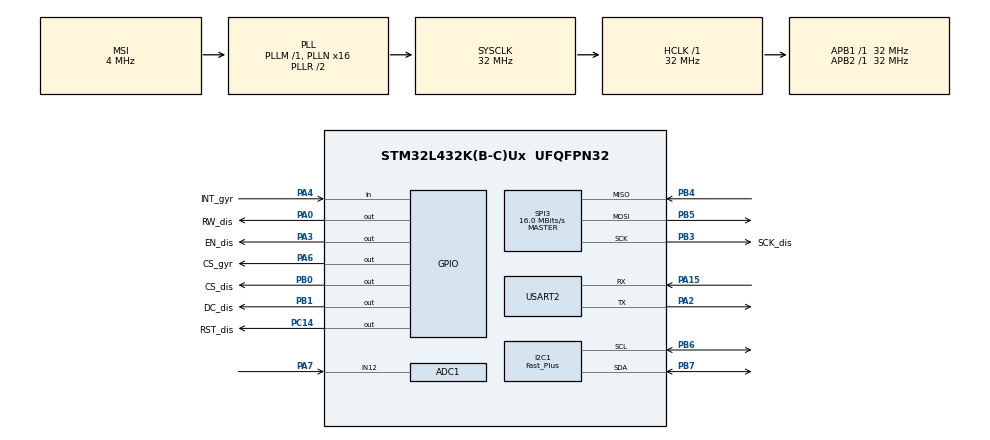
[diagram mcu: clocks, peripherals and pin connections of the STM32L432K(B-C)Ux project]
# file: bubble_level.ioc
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ADC1.Channel-0\#ChannelRegularConversion=ADC_CHANNEL_12
ADC1.NbrOfConversionFlag=1
ADC1.OffsetNumber-0\#ChannelRegularConversion=ADC_OFFSET_NONE
ADC1.Rank-0\#ChannelRegularConversion=1
ADC1.Resolution=ADC_RESOLUTION_8B
ADC1.SamplingTime-0\#ChannelRegularConversion=ADC_SAMPLETIME_2CYCLES_5
ADC1.master=1
Dma.I2C1_RX.1.Direction=DMA_PERIPH_TO_MEMORY
Dma.I2C1_RX.1.Instance=DMA1_Channel7
Dma.I2C1_RX.1.MemDataAlignment=DMA_MDATAALIGN_BYTE
Dma.I2C1_RX.1.MemInc=DMA_MINC_ENABLE
Dma.I2C1_RX.1.Mode=DMA_NORMAL
Dma.I2C1_RX.1.PeriphDataAlignment=DMA_PDATAALIGN_BYTE
Dma.I2C1_RX.1.PeriphInc=DMA_PINC_DISABLE
Dma.I2C1_RX.1.Priority=DMA_PRIORITY_LOW
Dma.I2C1_TX.0.Direction=DMA_MEMORY_TO_PERIPH
Dma.I2C1_TX.0.Instance=DMA1_Channel6
Dma.I2C1_TX.0.MemDataAlignment=DMA_MDATAALIGN_BYTE
Dma.I2C1_TX.0.MemInc=DMA_MINC_ENABLE
Dma.I2C1_TX.0.Mode=DMA_NORMAL
Dma.I2C1_TX.0.PeriphDataAlignment=DMA_PDATAALIGN_BYTE
Dma.I2C1_TX.0.PeriphInc=DMA_PINC_DISABLE
Dma.I2C1_TX.0.Priority=DMA_PRIORITY_LOW
Dma.Request0=I2C1_TX
Dma.Request1=I2C1_RX
FREERTOS.BinarySemaphores01=fuseddataavailable,Dynamic,NULL,Depleted;cooavailable,Dynamic,NULL,Depleted;rawdataavailable,Dynamic,NULL,Depleted;monitorcalcavailable,Dynamic,NULL,Depleted
FREERTOS.Queues01=calcdatatomonitor,2,CALCDATA,0,Static,monitordataBuffer,monitordataControlBlock;gyraccdata,2,REALACCGYR,0,Static,gyraccdataBuffer,gyraccdataControlBlock;fuseddata,2,ANGLES,0,Static,fuseddataBuffer,fuseddataControlBlock;coodata,1,COORDINATES,0,Static,coodataBuffer,coodataControlBlock;pixeldatatomonitor,1,COODELTA,0,Static,pixeldatatomonitorBuffer,pixeldatatomonitorControlBlock
FREERTOS.Tasks01=uarttask,32,256,startuarttask,Default,NULL,Static,uarttaskBuffer,uarttaskControlBlock;spitask,32,256,startspitask,Default,&griddata.angleradius,Static,spitaskBuffer,spitaskControlBlock;i2ctask,32,256,starti2ctask,Default,&cal,Static,i2ctaskBuffer,i2ctaskControlBlock;fusiontask,32,256,startfusiontask,Default,&filterdata,Static,fusiontaskBuffer,fusiontaskControlBlock;converttopixelt,32,256,startconverttopixeltask,Default,griddata.scalefunc,Static,converttopixelBuffer,converttopixelControlBlock
FREERTOS.configENABLE_FPU=1
FREERTOS.configTOTAL_HEAP_SIZE=6000
FREERTOS.configUSE_NEWLIB_REENTRANT=1
I2C1.Analog_Filter=I2C_ANALOGFILTER_ENABLE
I2C1.CustomTiming=Disabled
I2C1.I2C_Fall_Time=120
I2C1.I2C_Rise_Time=120
I2C1.I2C_Speed_Mode=I2C_Fast_Plus
I2C1.Speed=1000
I2C1.Timing=0x0050040C
Mcu.Family=STM32L4
Mcu.Name=STM32L432K(B-C)Ux
Mcu.Package=UFQFPN32
NVIC.DMA1_Channel6_IRQn=true\:5\:0\:false\:false\:true\:true\:false\:true\:true
NVIC.DMA1_Channel7_IRQn=true\:5\:0\:false\:false\:true\:true\:false\:true\:true
NVIC.PriorityGroup=NVIC_PRIORITYGROUP_4
NVIC.TIM6_DAC_IRQn=true\:15\:0\:false\:false\:true\:false\:false\:true\:true
NVIC.TimeBase=TIM6_DAC_IRQn
NVIC.TimeBaseIP=TIM6
NVIC.USART2_IRQn=true\:5\:0\:true\:false\:true\:true\:true\:true\:true
PA0.GPIO_Label=RW_dis
PA0.Signal=GPIO_Output
PA13\ (JTMS-SWDIO).Mode=Serial_Wire
PA13\ (JTMS-SWDIO).Signal=SYS_JTMS-SWDIO
PA14\ (JTCK-SWCLK).Mode=Serial_Wire
PA14\ (JTCK-SWCLK).Signal=SYS_JTCK-SWCLK
PA15\ (JTDI).Mode=Asynchronous
PA15\ (JTDI).Signal=USART2_RX
PA2.Mode=Asynchronous
PA2.Signal=USART2_TX
PA3.GPIO_Label=EN_dis
PA3.Signal=GPIO_Output
PA4.GPIO_Label=INT_gyr
PA4.Signal=GPIO_Input
PA6.GPIO_Label=CS_gyr
PA6.GPIO_ModeDefaultOutputPP=GPIO_MODE_OUTPUT_OD
PA6.GPIO_PuPd=GPIO_PULLUP
PA6.PinState=GPIO_PIN_SET
PA6.Signal=GPIO_Output
PA7.Signal=ADCx_IN12
PB0.GPIO_Label=CS_dis
PB0.PinState=GPIO_PIN_SET
PB0.Signal=GPIO_Output
PB1.GPIO_Label=DC_dis
PB1.PinState=GPIO_PIN_RESET
PB1.Signal=GPIO_Output
PB3\ (JTDO-TRACESWO).GPIO_Label=SCK_dis
PB3\ (JTDO-TRACESWO).Mode=Full_Duplex_Master
PB3\ (JTDO-TRACESWO).Signal=SPI3_SCK
PB4\ (NJTRST).Mode=Full_Duplex_Master
PB4\ (NJTRST).Signal=SPI3_MISO
PB5.Mode=Full_Duplex_Master
PB5.Signal=SPI3_MOSI
PB6.Mode=I2C
PB6.Signal=I2C1_SCL
PB7.Mode=I2C
PB7.Signal=I2C1_SDA
PC14-OSC32_IN\ (PC14).GPIO_Label=RST_dis
PC14-OSC32_IN\ (PC14).GPIO_ModeDefaultOutputPP=GPIO_MODE_OUTPUT_PP
PC14-OSC32_IN\ (PC14).GPIO_PuPd=GPIO_PULLDOWN
PC14-OSC32_IN\ (PC14).Signal=GPIO_Output
ProjectManager.HeapSize=0x200
ProjectManager.StackSize=0x400
ProjectManager.TargetToolchain=STM32CubeIDE
RCC.ADCFreq_Value=32000000
RCC.AHBFreq_Value=32000000
RCC.APB1Freq_Value=32000000
RCC.APB1TimFreq_Value=32000000
RCC.APB2Freq_Value=32000000
RCC.APB2TimFreq_Value=32000000
RCC.CortexFreq_Value=32000000
RCC.HCLKFreq_Value=32000000
RCC.HSE_VALUE=8000000
RCC.HSI48_VALUE=48000000
RCC.HSI_VALUE=16000000
RCC.LSE_VALUE=32768
RCC.MSI_VALUE=4000000
RCC.PLLN=16
RCC.PLLSAI1N=16
RCC.SYSCLKFreq_VALUE=32000000
RCC.SYSCLKSource=RCC_SYSCLKSOURCE_PLLCLK
RCC.USBFreq_Value=32000000
RCC.VCOOutputFreq_Value=64000000
SH.ADCx_IN12.0=ADC1_IN12,IN12-Single-Ended
SPI3.BaudRatePrescaler=SPI_BAUDRATEPRESCALER_2
SPI3.CLKPolarity=SPI_POLARITY_LOW
SPI3.CalculateBaudRate=16.0 MBits/s
SPI3.DataSize=SPI_DATASIZE_8BIT
SPI3.Direction=SPI_DIRECTION_2LINES
SPI3.Mode=SPI_MODE_MASTER
SPI3.VirtualType=VM_MASTER
USART2.VirtualMode-Asynchronous=VM_ASYNC
VP_FREERTOS_VS_CMSIS_V2.Mode=CMSIS_V2
VP_SYS_VS_tim6.Mode=TIM6
board=custom

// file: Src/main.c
/* USER CODE BEGIN Header */
/**
 ******************************************************************************
 * @file           : main.c
 * @brief          : BubbleLevel w/ FreeRTOS using ICM42688 and SSD1351
 * @author         : Moritz Emersberger
 ******************************************************************************
 * @attention
 *
 * Copyright (c) 2024 STMicroelectronics.
 * All rights reserved.
 *
 * This software is licensed under terms that can be found in the LICENSE file
 * in the root directory of this software component.
 * If no LICENSE file comes with this software, it is provided AS-IS.
 *
 ******************************************************************************
 */
/* USER CODE END Header */
#include "main.h"
#include "cmsis_os.h"

/* USER CODE BEGIN Includes */

#include <math.h>
#include "ssd1351.h"
#include "icm42688.h"

#include <inttypes.h>
#include <stdio.h>
#include <stdbool.h>
/* USER CODE END Includes */

typedef StaticTask_t osStaticThreadDef_t;
typedef StaticQueue_t osStaticMessageQDef_t;
/* USER CODE BEGIN PTD */
typedef struct delta
{
    float x;
    float y;
}DELTA;

typedef struct angles
{
    float pitch;
    float roll;
}ANGLES;

typedef struct calcdata
{
    REALACCGYR input;
    float t_roll;
    float t_pitch;
    float g_roll;
    float g_pitch;
    float roll_err;
    float pitch_err;
    float roll_err_old;
    float pitch_err_old;
    ANGLES angles;
}CALCDATA;

typedef struct coordinates
{
    int8_t x;
    int8_t y;
}COORDINATES;

typedef struct coodelta{
	DELTA delta;
	COORDINATES coo;
}COODELTA;

typedef enum
{
    LINEAR = 0,
    LOGN   = 1
}SCALE;

typedef struct anglegrid
{
    int8_t deg15r, deg30r, deg45r, deg60r, deg90r;
}ANGLEGRID;

typedef struct scalingdata
{
    SCALE scaling;
    void (*scalefunc)(float, float, DELTA*);
    ANGLEGRID angleradius;
}SCALINGDATA;

typedef enum
{
    FAST_INACCURATE = 0,
    SLOW_ACCURATE = 1
}FILTER;

typedef struct filterparam
{
    float alpha;
    float ki;
    float kp;
}FILTERPARAM;

/* USER CODE END PTD */

/* USER CODE BEGIN PD */
//toggle debug/info terminal
#define DEBUG 1
#if DEBUG
#define DISPLAYTIME 1000
#else
#define DISPLAYTIME 2500
#endif

//--------- setup scanf/printf over UART2 (serial interface to PC) -----------/
#if DEBUG
#ifdef __GNUC__
#define PUTCHAR_PROTOTYPE int __io_putchar(int ch)
#define GETCHAR_PROTOTYPE int __io_getchar(void)
#else
#define PUTCHAR_PROTOTYPE int fputc(int ch, FILE *f)
#define GETCHAR_PROTOTYPE int fgetc(FILE *f)
#endif
#endif
/* USER CODE END PD */

ADC_HandleTypeDef hadc1;

I2C_HandleTypeDef hi2c1;
DMA_HandleTypeDef hdma_i2c1_tx;
DMA_HandleTypeDef hdma_i2c1_rx;

SPI_HandleTypeDef hspi3;

UART_HandleTypeDef huart2;

/* Definitions for uarttask */
osThreadId_t uarttaskHandle;
uint32_t uarttaskBuffer[ 256 ];
osStaticThreadDef_t uarttaskControlBlock;
const osThreadAttr_t uarttask_attributes = {
  .name = "uarttask",
  .cb_mem = &uarttaskControlBlock,
  .cb_size = sizeof(uarttaskControlBlock),
  .stack_mem = &uarttaskBuffer[0],
  .stack_size = sizeof(uarttaskBuffer),
  .priority = (osPriority_t) osPriorityAboveNormal,
};
/* Definitions for spitask */
osThreadId_t spitaskHandle;
uint32_t spitaskBuffer[ 256 ];
osStaticThreadDef_t spitaskControlBlock;
const osThreadAttr_t spitask_attributes = {
  .name = "spitask",
  .cb_mem = &spitaskControlBlock,
  .cb_size = sizeof(spitaskControlBlock),
  .stack_mem = &spitaskBuffer[0],
  .stack_size = sizeof(spitaskBuffer),
  .priority = (osPriority_t) osPriorityAboveNormal,
};
/* Definitions for i2ctask */
osThreadId_t i2ctaskHandle;
uint32_t i2ctaskBuffer[ 256 ];
osStaticThreadDef_t i2ctaskControlBlock;
const osThreadAttr_t i2ctask_attributes = {
  .name = "i2ctask",
  .cb_mem = &i2ctaskControlBlock,
  .cb_size = sizeof(i2ctaskControlBlock),
  .stack_mem = &i2ctaskBuffer[0],
  .stack_size = sizeof(i2ctaskBuffer),
  .priority = (osPriority_t) osPriorityAboveNormal,
};
/* Definitions for fusiontask */
osThreadId_t fusiontaskHandle;
uint32_t fusiontaskBuffer[ 256 ];
osStaticThreadDef_t fusiontaskControlBlock;
const osThreadAttr_t fusiontask_attributes = {
  .name = "fusiontask",
  .cb_mem = &fusiontaskControlBlock,
  .cb_size = sizeof(fusiontaskControlBlock),
  .stack_mem = &fusiontaskBuffer[0],
  .stack_size = sizeof(fusiontaskBuffer),
  .priority = (osPriority_t) osPriorityAboveNormal,
};
/* Definitions for converttopixelt */
osThreadId_t converttopixeltHandle;
uint32_t converttopixelBuffer[ 256 ];
osStaticThreadDef_t converttopixelControlBlock;
const osThreadAttr_t converttopixelt_attributes = {
  .name = "converttopixelt",
  .cb_mem = &converttopixelControlBlock,
  .cb_size = sizeof(converttopixelControlBlock),
  .stack_mem = &converttopixelBuffer[0],
  .stack_size = sizeof(converttopixelBuffer),
  .priority = (osPriority_t) osPriorityAboveNormal,
};
/* Definitions for calcdatatomonitor */
osMessageQueueId_t calcdatatomonitorHandle;
uint8_t monitordataBuffer[ 2 * sizeof( CALCDATA ) ];
osStaticMessageQDef_t monitordataControlBlock;
const osMessageQueueAttr_t calcdatatomonitor_attributes = {
  .name = "calcdatatomonitor",
  .cb_mem = &monitordataControlBlock,
  .cb_size = sizeof(monitordataControlBlock),
  .mq_mem = &monitordataBuffer,
  .mq_size = sizeof(monitordataBuffer)
};
/* Definitions for gyraccdata */
osMessageQueueId_t gyraccdataHandle;
uint8_t gyraccdataBuffer[ 2 * sizeof( REALACCGYR ) ];
osStaticMessageQDef_t gyraccdataControlBlock;
const osMessageQueueAttr_t gyraccdata_attributes = {
  .name = "gyraccdata",
  .cb_mem = &gyraccdataControlBlock,
  .cb_size = sizeof(gyraccdataControlBlock),
  .mq_mem = &gyraccdataBuffer,
  .mq_size = sizeof(gyraccdataBuffer)
};
/* Definitions for fuseddata */
osMessageQueueId_t fuseddataHandle;
uint8_t fuseddataBuffer[ 2 * sizeof( ANGLES ) ];
osStaticMessageQDef_t fuseddataControlBlock;
const osMessageQueueAttr_t fuseddata_attributes = {
  .name = "fuseddata",
  .cb_mem = &fuseddataControlBlock,
  .cb_size = sizeof(fuseddataControlBlock),
  .mq_mem = &fuseddataBuffer,
  .mq_size = sizeof(fuseddataBuffer)
};
/* Definitions for coodata */
osMessageQueueId_t coodataHandle;
uint8_t coodataBuffer[ 1 * sizeof( COORDINATES ) ];
osStaticMessageQDef_t coodataControlBlock;
const osMessageQueueAttr_t coodata_attributes = {
  .name = "coodata",
  .cb_mem = &coodataControlBlock,
  .cb_size = sizeof(coodataControlBlock),
  .mq_mem = &coodataBuffer,
  .mq_size = sizeof(coodataBuffer)
};
/* Definitions for pixeldatatomonitor */
osMessageQueueId_t pixeldatatomonitorHandle;
uint8_t pixeldatatomonitorBuffer[ 1 * sizeof( COODELTA ) ];
osStaticMessageQDef_t pixeldatatomonitorControlBlock;
const osMessageQueueAttr_t pixeldatatomonitor_attributes = {
  .name = "pixeldatatomonitor",
  .cb_mem = &pixeldatatomonitorControlBlock,
  .cb_size = sizeof(pixeldatatomonitorControlBlock),
  .mq_mem = &pixeldatatomonitorBuffer,
  .mq_size = sizeof(pixeldatatomonitorBuffer)
};
/* Definitions for fuseddataavailable */
osSemaphoreId_t fuseddataavailableHandle;
const osSemaphoreAttr_t fuseddataavailable_attributes = {
  .name = "fuseddataavailable"
};
/* Definitions for cooavailable */
osSemaphoreId_t cooavailableHandle;
const osSemaphoreAttr_t cooavailable_attributes = {
  .name = "cooavailable"
};
/* Definitions for rawdataavailable */
osSemaphoreId_t rawdataavailableHandle;
const osSemaphoreAttr_t rawdataavailable_attributes = {
  .name = "rawdataavailable"
};
/* Definitions for monitorcalcavailable */
osSemaphoreId_t monitorcalcavailableHandle;
const osSemaphoreAttr_t monitorcalcavailable_attributes = {
  .name = "monitorcalcavailable"
};
/* USER CODE BEGIN PV */
static const ANGLEGRID angleraddata[2] = {
        { 8,15,23,31,46},
        {11,21,28,35,46}
};

static const FILTERPARAM filterparameter[2] = {
    {0.7,  1, 1},
    {0.7,0.1,25}
};

CALDATA cal;
SCALINGDATA griddata;
FILTERPARAM filterdata;
/* USER CODE END PV */

void SystemClock_Config(void);
static void MX_GPIO_Init(void);
static void MX_DMA_Init(void);
static void MX_I2C1_Init(void);
static void MX_USART2_UART_Init(void);
static void MX_SPI3_Init(void);
static void MX_ADC1_Init(void);
void startuarttask(void *argument);
void startspitask(void *argument);
void starti2ctask(void *argument);
void startfusiontask(void *argument);
void startconverttopixeltask(void *argument);

/* USER CODE BEGIN PFP */
uint8_t get_adc_raw();
void ics_init(CALDATA*);
void scale_linear(float, float, DELTA*);
void scale_ln(float, float, DELTA*);
static const void (*fptr[2])(float,float,DELTA*)={&scale_linear, &scale_ln};
/* USER CODE END PFP */

/* USER CODE BEGIN 0 */
#if DEBUG
PUTCHAR_PROTOTYPE
{
    HAL_UART_Transmit(&huart2, (uint8_t *)&ch, 1, HAL_MAX_DELAY);
    return ch;
}

GETCHAR_PROTOTYPE
{
    uint8_t ch = 0;

    /* Clear the Overrun flag just before receiving the first character */
    __HAL_UART_CLEAR_OREFLAG(&huart2);

    /* Wait for reception of a character on the USART RX line and echo this
     * character on console */
    HAL_UART_Receive(&huart2, (uint8_t *)&ch, 1, HAL_MAX_DELAY);
    HAL_UART_Transmit(&huart2, (uint8_t *)&ch, 1, HAL_MAX_DELAY);
    return ch;
}
#endif
/* USER CODE END 0 */

int main(void)
{

  /* MCU Configuration--------------------------------------------------------*/

  /* Reset of all peripherals, Initializes the Flash interface and the Systick. */
  HAL_Init();

  /* USER CODE BEGIN Init */
  setvbuf(stdin, NULL, _IONBF, 0);
  /* USER CODE END Init */

  /* Configure the system clock */
  SystemClock_Config();

  /* Initialize all configured peripherals */
  MX_GPIO_Init();
  MX_DMA_Init();
  MX_I2C1_Init();
  MX_USART2_UART_Init();
  MX_SPI3_Init();
  MX_ADC1_Init();
  /* USER CODE BEGIN 2 */
  //initialise screen, show startup-info, select scaling, initialise 6DOF
  ics_init(&cal);
  /* USER CODE END 2 */

  /* Init scheduler */
  osKernelInitialize();

  /* Create the semaphores(s) */
  /* creation of fuseddataavailable */
  fuseddataavailableHandle = osSemaphoreNew(1, 0, &fuseddataavailable_attributes);

  /* creation of cooavailable */
  cooavailableHandle = osSemaphoreNew(1, 0, &cooavailable_attributes);

  /* creation of rawdataavailable */
  rawdataavailableHandle = osSemaphoreNew(1, 0, &rawdataavailable_attributes);
#if DEBUG
  /* creation of monitorcalcavailable */
  monitorcalcavailableHandle = osSemaphoreNew(1, 0, &monitorcalcavailable_attributes);
#endif

  /* Create the queue(s) */
#if DEBUG
  /* creation of calcdatatomonitor */
  calcdatatomonitorHandle = osMessageQueueNew (2, sizeof(CALCDATA), &calcdatatomonitor_attributes);
#endif
  /* creation of gyraccdata */
  gyraccdataHandle = osMessageQueueNew (2, sizeof(REALACCGYR), &gyraccdata_attributes);

  /* creation of fuseddata */
  fuseddataHandle = osMessageQueueNew (2, sizeof(ANGLES), &fuseddata_attributes);

  /* creation of coodata */
  coodataHandle = osMessageQueueNew (1, sizeof(COORDINATES), &coodata_attributes);
#if DEBUG
  /* creation of pixeldatatomonitor */
  pixeldatatomonitorHandle = osMessageQueueNew (1, sizeof(COODELTA), &pixeldatatomonitor_attributes);
#endif

  /* Create the thread(s) */
#if DEBUG
  /* creation of uarttask */
  uarttaskHandle = osThreadNew(startuarttask, NULL, &uarttask_attributes);
#endif
  /* creation of spitask */
  spitaskHandle = osThreadNew(startspitask, (void*) &griddata.angleradius, &spitask_attributes);

  /* creation of i2ctask */
  i2ctaskHandle = osThreadNew(starti2ctask, (void*) &cal, &i2ctask_attributes);

  /* creation of fusiontask */
  fusiontaskHandle = osThreadNew(startfusiontask, (void*) &filterdata, &fusiontask_attributes);

  /* creation of converttopixelt */
  converttopixeltHandle = osThreadNew(startconverttopixeltask, (void*) griddata.scalefunc, &converttopixelt_attributes);

  /* Start scheduler */
  osKernelStart();

  /* We should never get here as control is now taken by the scheduler */

  /* Infinite loop */
  while (1)
  {

  }
}

void SystemClock_Config(void)
{
  RCC_OscInitTypeDef RCC_OscInitStruct = {0};
  RCC_ClkInitTypeDef RCC_ClkInitStruct = {0};

  /** Configure the main internal regulator output voltage
  */
  if (HAL_PWREx_ControlVoltageScaling(PWR_REGULATOR_VOLTAGE_SCALE1) != HAL_OK)
  {
    Error_Handler();
  }

  /** Initializes the RCC Oscillators according to the specified parameters
  * in the RCC_OscInitTypeDef structure.
  */
  RCC_OscInitStruct.OscillatorType = RCC_OSCILLATORTYPE_MSI;
  RCC_OscInitStruct.MSIState = RCC_MSI_ON;
  RCC_OscInitStruct.MSICalibrationValue = 0;
  RCC_OscInitStruct.MSIClockRange = RCC_MSIRANGE_6;
  RCC_OscInitStruct.PLL.PLLState = RCC_PLL_ON;
  RCC_OscInitStruct.PLL.PLLSource = RCC_PLLSOURCE_MSI;
  RCC_OscInitStruct.PLL.PLLM = 1;
  RCC_OscInitStruct.PLL.PLLN = 16;
  RCC_OscInitStruct.PLL.PLLP = RCC_PLLP_DIV7;
  RCC_OscInitStruct.PLL.PLLQ = RCC_PLLQ_DIV2;
  RCC_OscInitStruct.PLL.PLLR = RCC_PLLR_DIV2;
  if (HAL_RCC_OscConfig(&RCC_OscInitStruct) != HAL_OK)
  {
    Error_Handler();
  }

  /** Initializes the CPU, AHB and APB buses clocks
  */
  RCC_ClkInitStruct.ClockType = RCC_CLOCKTYPE_HCLK|RCC_CLOCKTYPE_SYSCLK
                              |RCC_CLOCKTYPE_PCLK1|RCC_CLOCKTYPE_PCLK2;
  RCC_ClkInitStruct.SYSCLKSource = RCC_SYSCLKSOURCE_PLLCLK;
  RCC_ClkInitStruct.AHBCLKDivider = RCC_SYSCLK_DIV1;
  RCC_ClkInitStruct.APB1CLKDivider = RCC_HCLK_DIV1;
  RCC_ClkInitStruct.APB2CLKDivider = RCC_HCLK_DIV1;

  if (HAL_RCC_ClockConfig(&RCC_ClkInitStruct, FLASH_LATENCY_1) != HAL_OK)
  {
    Error_Handler();
  }
}

static void MX_ADC1_Init(void)
{

  ADC_ChannelConfTypeDef sConfig = {0};

  /** Common config
  */
  hadc1.Instance = ADC1;
  hadc1.Init.ClockPrescaler = ADC_CLOCK_ASYNC_DIV1;
  hadc1.Init.Resolution = ADC_RESOLUTION_8B;
  hadc1.Init.DataAlign = ADC_DATAALIGN_RIGHT;
  hadc1.Init.ScanConvMode = ADC_SCAN_DISABLE;
  hadc1.Init.EOCSelection = ADC_EOC_SINGLE_CONV;
  hadc1.Init.LowPowerAutoWait = DISABLE;
  hadc1.Init.ContinuousConvMode = DISABLE;
  hadc1.Init.NbrOfConversion = 1;
  hadc1.Init.DiscontinuousConvMode = DISABLE;
  hadc1.Init.ExternalTrigConv = ADC_SOFTWARE_START;
  hadc1.Init.ExternalTrigConvEdge = ADC_EXTERNALTRIGCONVEDGE_NONE;
  hadc1.Init.DMAContinuousRequests = DISABLE;
  hadc1.Init.Overrun = ADC_OVR_DATA_PRESERVED;
  hadc1.Init.OversamplingMode = DISABLE;
  if (HAL_ADC_Init(&hadc1) != HAL_OK)
  {
    Error_Handler();
  }

  /** Configure Regular Channel
  */
  sConfig.Channel = ADC_CHANNEL_12;
  sConfig.Rank = ADC_REGULAR_RANK_1;
  sConfig.SamplingTime = ADC_SAMPLETIME_2CYCLES_5;
  sConfig.SingleDiff = ADC_SINGLE_ENDED;
  sConfig.OffsetNumber = ADC_OFFSET_NONE;
  sConfig.Offset = 0;
  if (HAL_ADC_ConfigChannel(&hadc1, &sConfig) != HAL_OK)
  {
    Error_Handler();
  }

}

static void MX_I2C1_Init(void)
{

  hi2c1.Instance = I2C1;
  hi2c1.Init.Timing = 0x0050040C;
  hi2c1.Init.OwnAddress1 = 0;
  hi2c1.Init.AddressingMode = I2C_ADDRESSINGMODE_7BIT;
  hi2c1.Init.DualAddressMode = I2C_DUALADDRESS_DISABLE;
  hi2c1.Init.OwnAddress2 = 0;
  hi2c1.Init.OwnAddress2Masks = I2C_OA2_NOMASK;
  hi2c1.Init.GeneralCallMode = I2C_GENERALCALL_DISABLE;
  hi2c1.Init.NoStretchMode = I2C_NOSTRETCH_DISABLE;
  if (HAL_I2C_Init(&hi2c1) != HAL_OK)
  {
    Error_Handler();
  }

  /** Configure Analogue filter
  */
  if (HAL_I2CEx_ConfigAnalogFilter(&hi2c1, I2C_ANALOGFILTER_ENABLE) != HAL_OK)
  {
    Error_Handler();
  }

  /** Configure Digital filter
  */
  if (HAL_I2CEx_ConfigDigitalFilter(&hi2c1, 0) != HAL_OK)
  {
    Error_Handler();
  }

  /** I2C Fast mode Plus enable
  */
  HAL_I2CEx_EnableFastModePlus(I2C_FASTMODEPLUS_I2C1);

}

static void MX_SPI3_Init(void)
{

  /* SPI3 parameter configuration*/
  hspi3.Instance = SPI3;
  hspi3.Init.Mode = SPI_MODE_MASTER;
  hspi3.Init.Direction = SPI_DIRECTION_2LINES;
  hspi3.Init.DataSize = SPI_DATASIZE_8BIT;
  hspi3.Init.CLKPolarity = SPI_POLARITY_LOW;
  hspi3.Init.CLKPhase = SPI_PHASE_1EDGE;
  hspi3.Init.NSS = SPI_NSS_SOFT;
  hspi3.Init.BaudRatePrescaler = SPI_BAUDRATEPRESCALER_2;
  hspi3.Init.FirstBit = SPI_FIRSTBIT_MSB;
  hspi3.Init.TIMode = SPI_TIMODE_DISABLE;
  hspi3.Init.CRCCalculation = SPI_CRCCALCULATION_DISABLE;
  hspi3.Init.CRCPolynomial = 7;
  hspi3.Init.CRCLength = SPI_CRC_LENGTH_DATASIZE;
  hspi3.Init.NSSPMode = SPI_NSS_PULSE_ENABLE;
  if (HAL_SPI_Init(&hspi3) != HAL_OK)
  {
    Error_Handler();
  }

}

static void MX_USART2_UART_Init(void)
{

  huart2.Instance = USART2;
  huart2.Init.BaudRate = 115200;
  huart2.Init.WordLength = UART_WORDLENGTH_8B;
  huart2.Init.StopBits = UART_STOPBITS_1;
  huart2.Init.Parity = UART_PARITY_NONE;
  huart2.Init.Mode = UART_MODE_TX_RX;
  huart2.Init.HwFlowCtl = UART_HWCONTROL_NONE;
  huart2.Init.OverSampling = UART_OVERSAMPLING_16;
  huart2.Init.OneBitSampling = UART_ONE_BIT_SAMPLE_DISABLE;
  huart2.AdvancedInit.AdvFeatureInit = UART_ADVFEATURE_NO_INIT;
  if (HAL_UART_Init(&huart2) != HAL_OK)
  {
    Error_Handler();
  }

}

static void MX_DMA_Init(void)
{

  /* DMA controller clock enable */
  __HAL_RCC_DMA1_CLK_ENABLE();

  /* DMA interrupt init */
  /* DMA1_Channel6_IRQn interrupt configuration */
  HAL_NVIC_SetPriority(DMA1_Channel6_IRQn, 5, 0);
  HAL_NVIC_EnableIRQ(DMA1_Channel6_IRQn);
  /* DMA1_Channel7_IRQn interrupt configuration */
  HAL_NVIC_SetPriority(DMA1_Channel7_IRQn, 5, 0);
  HAL_NVIC_EnableIRQ(DMA1_Channel7_IRQn);

}

static void MX_GPIO_Init(void)
{
  GPIO_InitTypeDef GPIO_InitStruct = {0};

  /* GPIO Ports Clock Enable */
  __HAL_RCC_GPIOC_CLK_ENABLE();
  __HAL_RCC_GPIOA_CLK_ENABLE();
  __HAL_RCC_GPIOB_CLK_ENABLE();

  /*Configure GPIO pin Output Level */
  HAL_GPIO_WritePin(RST_dis_GPIO_Port, RST_dis_Pin, GPIO_PIN_RESET);

  /*Configure GPIO pin Output Level */
  HAL_GPIO_WritePin(GPIOA, RW_dis_Pin|EN_dis_Pin, GPIO_PIN_RESET);

  /*Configure GPIO pin Output Level */
  HAL_GPIO_WritePin(CS_gyr_GPIO_Port, CS_gyr_Pin, GPIO_PIN_SET);

  /*Configure GPIO pin Output Level */
  HAL_GPIO_WritePin(CS_dis_GPIO_Port, CS_dis_Pin, GPIO_PIN_SET);

  /*Configure GPIO pin Output Level */
  HAL_GPIO_WritePin(DC_dis_GPIO_Port, DC_dis_Pin, GPIO_PIN_RESET);

  /*Configure GPIO pin : RST_dis_Pin */
  GPIO_InitStruct.Pin = RST_dis_Pin;
  GPIO_InitStruct.Mode = GPIO_MODE_OUTPUT_PP;
  GPIO_InitStruct.Pull = GPIO_PULLDOWN;
  GPIO_InitStruct.Speed = GPIO_SPEED_FREQ_LOW;
  HAL_GPIO_Init(RST_dis_GPIO_Port, &GPIO_InitStruct);

  /*Configure GPIO pins : RW_dis_Pin EN_dis_Pin */
  GPIO_InitStruct.Pin = RW_dis_Pin|EN_dis_Pin;
  GPIO_InitStruct.Mode = GPIO_MODE_OUTPUT_PP;
  GPIO_InitStruct.Pull = GPIO_NOPULL;
  GPIO_InitStruct.Speed = GPIO_SPEED_FREQ_LOW;
  HAL_GPIO_Init(GPIOA, &GPIO_InitStruct);

  /*Configure GPIO pin : INT_gyr_Pin */
  GPIO_InitStruct.Pin = INT_gyr_Pin;
  GPIO_InitStruct.Mode = GPIO_MODE_INPUT;
  GPIO_InitStruct.Pull = GPIO_NOPULL;
  HAL_GPIO_Init(INT_gyr_GPIO_Port, &GPIO_InitStruct);

  /*Configure GPIO pin : CS_gyr_Pin */
  GPIO_InitStruct.Pin = CS_gyr_Pin;
  GPIO_InitStruct.Mode = GPIO_MODE_OUTPUT_OD;
  GPIO_InitStruct.Pull = GPIO_PULLUP;
  GPIO_InitStruct.Speed = GPIO_SPEED_FREQ_LOW;
  HAL_GPIO_Init(CS_gyr_GPIO_Port, &GPIO_InitStruct);

  /*Configure GPIO pins : CS_dis_Pin DC_dis_Pin */
  GPIO_InitStruct.Pin = CS_dis_Pin|DC_dis_Pin;
  GPIO_InitStruct.Mode = GPIO_MODE_OUTPUT_PP;
  GPIO_InitStruct.Pull = GPIO_NOPULL;
  GPIO_InitStruct.Speed = GPIO_SPEED_FREQ_LOW;
  HAL_GPIO_Init(GPIOB, &GPIO_InitStruct);

}

/* USER CODE BEGIN 4 */

/**
 * @brief reads analog input
 * @retval 8bit unsigned adc value
 */
uint8_t get_adc_raw()
{
    HAL_ADC_Start(&hadc1);
    HAL_ADC_PollForConversion(&hadc1, 100);
    uint8_t adc_value = HAL_ADC_GetValue(&hadc1);
    HAL_ADC_Stop(&hadc1);
    return adc_value;
}

/**
 * @brief scales pitch and roll linearly for 96px screen
 * @param pitch: sensor fused pitch from accel- and gyro-data
 * @param pitch: sensor fused roll  from accel- and gyro-data
 * @param delta: pointer to struct of two floats for result
 * @retval None
 */
void scale_linear(float pitch, float roll, DELTA* delta)
{
	//PI/2 ~= 1.5707963
    delta->x = (fabs(pitch)/1.5707963)*46;
    delta->y = (fabs(roll )/1.5707963)*46;
}

/**
 * @brief scales pitch and roll logarithmically for 96px screen
 * @param pitch: sensor fused pitch from accel- and gyro-data
 * @param pitch: sensor fused roll  from accel- and gyro-data
 * @param delta: pointer to struct of two floats for result
 * @retval None
 */
void scale_ln(float pitch, float roll, DELTA* delta)
{
	//log nat((PI/2)+1) ~= 0.9442157
    delta->x = ((logf(fabs(pitch)+1))/ 0.9442157)*46;
    delta->y = ((logf(fabs( roll)+1))/ 0.9442157)*46;
}

/**
 * @brief initialises display and 6DOF, configures scaling with userinput
 * @param cal: pointer to sensor-calibration results structure
 * @retval None
 */
void ics_init(CALDATA* cal)
{
    //reset display
    SSD1351_SetPin(RESET_PORT, RESET_PIN);
    SSD1351_ClearPin(RESET_PORT, RESET_PIN);
    SSD1351_SetPin(RESET_PORT, RESET_PIN);
    HAL_GPIO_WritePin(GPIOA, EN_dis_Pin, GPIO_PIN_SET);

    //configure and check display-driver registers
    SSD1351_init();

    //startup screen
    SSD1351_fill65k(COLOUR_BLACK);
    SSD1351_set_cursor(0,95);
    SSD1351_printf(SSD1351_get_rgb(255,  0,  0), small_font, "BubbleLevelw/\nFreeRTOS\n");
    SSD1351_printf(SSD1351_get_rgb(255,142,  0), small_font, "6DOF:ICM42688\n");
    SSD1351_printf(SSD1351_get_rgb(255,255,  0), small_font, "OLED:PSP27801\n");
    SSD1351_printf(SSD1351_get_rgb(  0,142,  0), small_font, "OLED-drv:\nSSD1351\n" );
    SSD1351_printf(SSD1351_get_rgb( 64,  0,152), small_font, "application\nby:");
    SSD1351_printf(SSD1351_get_rgb(142,  0,142), small_font, "Moritz\nEmersberger" );
    SSD1351_update();
    HAL_Delay(DISPLAYTIME);
#if DEBUG
    printf("\r\n\nBubbleLevel with FreeRTOS\n\r");
    printf("6DOF: ICM42688\n\r");
    printf("OLED: PSP27801\n\r");
    printf("OLED-drv: SSD1351\n\r" );
    printf("application by:\n\r");
    printf("Moritz Emersberger\n\n\r");
#endif

    //scale-selection + screen
    char text[2][26] = {"linear\n", "LOGnat\n"};
    char scale_text[26];
    int8_t selection = 0, selection_previous = 0;
    uint8_t adc_input=0;
    int8_t i;
    for (i = 5; i > 0; i--) {

        //get input from potentiometer and choose scaling
        adc_input = get_adc_raw();
        if (adc_input < 128) {
            selection = LOGN;
        } else {
            selection = LINEAR;
        }
        snprintf(scale_text, 26, "%s", text[selection]);

        // draw difficulty selection screen
        SSD1351_fill65k(COLOUR_BLACK);
        SSD1351_set_cursor(0,95);
        SSD1351_printf(COLOUR_WHITE, med_font, "scale-\nselect\nw/ADC:\n");
        SSD1351_printf(COLOUR_GREY, med_font, scale_text);
        SSD1351_update();
#if DEBUG
        printf("RAW-ADC input for scale-select: %d\r\n", adc_input);
#endif
        // reset counter if difficulty user input changed
        if (selection_previous != selection){ i = 5;}
        selection_previous = selection;
        HAL_Delay(500);
    }
    //assign scaling from enum to griddata for spi- and converttopixeltasks
    griddata.scaling = selection;
    griddata.angleradius = angleraddata[griddata.scaling];
    griddata.scalefunc   = fptr[griddata.scaling];
#if DEBUG
    printf("\nscale selected: %s\r\n", scale_text);
#endif
    //filter-settings selection
    snprintf(text[0],26,"%s","alpha:0.7\nki:1\nkp:1");
    snprintf(text[1],26,"%s","alpha:0.7\nki:0.1\nkp:25");
    char filter_text[26];
    selection = 0;
    selection_previous = 0;
    adc_input=0;
    for (i = 5; i > 0; i--) {

        //get input from potentiometer and choose scaling
        adc_input = get_adc_raw();
        if (adc_input < 128) {
            selection = 1;
        } else {
            selection = 0;
        }
        snprintf(filter_text, 26, "%s", text[selection]);

        // draw difficulty selection screen
        SSD1351_fill65k(COLOUR_BLACK);
        SSD1351_set_cursor(0,95);
        SSD1351_printf(COLOUR_WHITE, med_font, "filter-\nselect\nw/ADC:\n");
        SSD1351_printf(COLOUR_GREY, small_font, filter_text);
        SSD1351_update();
#if DEBUG
        printf("RAW-ADC input for filter-select: %d\r\n", adc_input);
#endif
        // reset counter if difficulty user input changed
        if (selection_previous != selection){ i = 5;}
        selection_previous = selection;
        HAL_Delay(500);
    }
    filterdata = filterparameter[selection];
#if DEBUG
    printf("\nfilter values selected: alpha=%f ki=%f kp=%f\r\n", filterdata.alpha, filterdata.ki, filterdata.kp);
#endif

    //legend screen
    SSD1351_fill65k(COLOUR_BLACK);
    SSD1351_set_cursor(0,95);
    SSD1351_printf(SSD1351_get_rgb(142,  0,142), med_font, scale_text);
    SSD1351_printf(SSD1351_get_rgb(142,  0,142), small_font, filter_text);
    SSD1351_printf(COLOUR_RED, small_font, "\n15deg | PI/12\n");
    SSD1351_printf(COLOUR_BLUE, small_font, "30deg | PI/6\n");
    SSD1351_printf(COLOUR_GREEN, small_font, "45deg | PI/4\n");
    SSD1351_printf(COLOUR_YELLOW, small_font, "60deg | PI/3\n");
    SSD1351_printf(COLOUR_PURPLE, small_font, "~90deg|~PI/2\n");
    SSD1351_update();

    //place on level surface
#if DEBUG
#else
    SSD1351_fill65k(COLOUR_BLACK);
    SSD1351_set_cursor(0,95);
    SSD1351_printf(COLOUR_WHITE, small_font, "Please place\n device on\nlevel surface\n\n Calibration\nwill start in 5 seconds!");
    HAL_Delay(5000);
    //HAL_Delay(1000);
    SSD1351_update();
    //clear and write seconds for countdown
    int8_t x = SSD1351_get_cursor_x()-70;
    for(int8_t i=4; i>0; i--){
        HAL_Delay(1000);
        SSD1351_set_cursor(x ,SSD1351_get_cursor_y());
        SSD1351_draw_filled_rect(SSD1351_get_cursor_x(), SSD1351_get_cursor_y()-9, 7, 10, COLOUR_BLACK);
        SSD1351_printf(COLOUR_WHITE, small_font, "%i", i);
        SSD1351_update();
    }
#endif
    //configure and check 6DOF registers
    ICM42688_init();
    //calibration screen, continues in ICEM42688_calibrate()
    SSD1351_fill65k(COLOUR_BLACK);
    SSD1351_set_cursor(0,95);
    SSD1351_printf(COLOUR_WHITE, small_font, "Calibrating..\n.............\n\nDuration: 10s\n(1000 samples\n10ms/sample)\n");
    SSD1351_printf(COLOUR_WHITE, small_font, "Time left:\n10 seconds");
    HAL_Delay(1000);
    SSD1351_update();
    ICM42688_calibrate(cal);
    HAL_Delay(50);

    //initialisation of ICs finished, FreeRTOS will be started
    SSD1351_fill65k(COLOUR_BLACK);
    SSD1351_set_cursor(0,95);
    SSD1351_printf(COLOUR_GREEN, med_font, "Bubble\nLevel w/\nFreeRTOS\nstarts\n");
    SSD1351_printf(COLOUR_RED, med_font, "NOW");
    SSD1351_update();
#if DEBUG
    printf("\nBubbleLevel with FreeRTOS starts now!\r\n\n");
#endif
    HAL_Delay(DISPLAYTIME);
}

/**
 * @brief reads 1000times from 6DOF-sensors and saves average as calibration values
 *        more sophisticated calibration routine w.r.t. earth's gravity could be implemented in future
 * @param cal: pointer to sensor-calibration results structure
 * @retval None
 */
void ICM42688_calibrate(CALDATA* cal)
{
    DATASET data;
    int8_t j = 9;
    int8_t x = SSD1351_get_cursor_x()-70;

    for(uint16_t i=0; i<1000; i++)
    {
        //get sensor readings and save to double
        ICM42688_read_all_sensors(&data.raw, &data.conv);
        cal->gyrox += data.conv.gyrox;
        cal->gyroy += data.conv.gyroy;
        cal->accx += data.conv.accx;
        cal->accy += data.conv.accy;
        cal->accz += data.conv.accz;

        //update displays countdown
        if(i%100==0 && i>0){
            SSD1351_set_cursor(x ,SSD1351_get_cursor_y());
            SSD1351_draw_filled_rect(x, SSD1351_get_cursor_y()-9, 14, 10, COLOUR_BLACK);
            SSD1351_printf(COLOUR_WHITE, small_font, " %i", j);
            SSD1351_update();
            j--;
        }
        HAL_Delay(10);
    }

    //average saved data

    //16.4 for fs_sel0, 262 for fs_sel=4, 131 for fs_sel=3, 65.5 for fs_sel=2, 2097.2 for fs_sel=7
    cal->gyrox/= 16400;//(1000*131 bzw. 16.4);
    cal->gyroy/= 16400;//(1000*131 bzw. 16.4);

    //16384 for fs_sel=3, 8192 for fs_sel=2
    cal->accx/= 16384000;//(1000*16384);
    cal->accy/= 16384000;//(1000*16384);
    cal->accz/= 16384000;//(1000*16384);
#if DEBUG
    printf("\rCalibration finished, offset-values:\n\r");
    printf("\tgyro-x: %10f gyro-y: %10f\r\n", cal->gyrox, cal->gyroy);
    printf("\tacc-x : %10f acc-y: %10f acc-z: %10f\r\n", cal->accx, cal->accy, cal->accz);
#endif
}
/* USER CODE END 4 */

/* USER CODE BEGIN Header_startuarttask */
/**
 * @brief  switchable via DEFINE, prints DEBUG/INFO data to connected Terminal
 * @param  argument: Not used
 * @retval None
 */
/* USER CODE END Header_startuarttask */
void startuarttask(void *argument)
{
  /* USER CODE BEGIN 5 */

    osStatus_t state, state2;
    CALCDATA calc;
    COODELTA cd;
    //osThreadState_t threadstate;
    bool calcavailable=false;
    bool pixelavailable=false;
    /* Infinite loop */

    for(;;)
    {
        state= osMessageQueueGet(calcdatatomonitorHandle, &calc, 0U, 0);
        //state= osMessageQueueGet(monitordataHandle, &degtest, 0U, 10);
        if(osOK == state ){
        	calcavailable=true;

        	//printf("gettingdebugcalc ok");

        }else{
            //printf("\tgetting debugcalc, state: %i\r\n", state);
        }
        state2= osMessageQueueGet(pixeldatatomonitorHandle, &cd, 0U, 0);
        if(osOK == state2 ){
        	pixelavailable=true;

        	//printf("gettingdebugcoo ok");

        }else{
        	//printf("\tgetting debugcoo, state: %i\r\n", state);
        }

        if((calcavailable==true) && (pixelavailable==true)){

        	printf("**********************************BubbleLevel DebugData**********************************\n\r");
        	printf("gyro  raw-data gyrx gyry [rad/s]           :  %10f %10f \r\n", 			calc.input.gyrx, calc.input.gyry);
        	printf("accel raw-data accx accy accz [m/s*s]      :  %10f %10f %10f\r\n", 		calc.input.accx, calc.input.accy, calc.input.accz );
        	printf("t_roll t_pitch g_roll g_pitch [rad]        :  %10f %10f %10f %10f\r\n", calc.t_roll, calc.t_pitch, calc.g_roll, calc.g_pitch);
        	printf("error: roll pitch roll_old pitch_old [rad] :  %10f %10f %10f %10f\r\n", calc.roll_err, calc.pitch_err, calc.roll_err_old, calc.pitch_err_old );
        	printf("roll pitch [rad]                           :  %10f %10f\r\n", calc.angles.roll, calc.angles.pitch);
        	printf("delta_x delta_y [px in float]              :  %10f %10f\r\n", cd.delta.x, cd.delta.y );
        	printf("coordinates x y [px in int8_t]             :   %d         %d\r\n", cd.coo.x, cd.coo.y );
        	printf("*****************************************************************************************\n\n\r");

        	calcavailable = false;
        	pixelavailable = false;
        }
    }
  /* USER CODE END 5 */
}

/* USER CODE BEGIN Header_startspitask */
/**
 * @brief updates display with current roll/pitch-values i.e. corresponding pixel-positions from converttopixeltask
 * @param argument: scale-dependent grid-drawing values
 * @retval None
 */
/* USER CODE END Header_startspitask */
void startspitask(void *argument)
{
  /* USER CODE BEGIN startspitask */
    osStatus_t state;
    COORDINATES coo;
    ANGLEGRID* ptr = argument;
    ANGLEGRID griddata;
    griddata.deg15r = ptr->deg15r;
    griddata.deg30r = ptr->deg30r;
    griddata.deg45r = ptr->deg45r;
    griddata.deg60r = ptr->deg60r;
    griddata.deg90r = ptr->deg90r;
    coo.x=46; coo.y=46;
    /* Infinite loop */
    for(;;)
    {
        //info from converttopixeltask, if new pixel-data is available
        if(osSemaphoreAcquire(cooavailableHandle,0)==osOK){
            SSD1351_fill65k(COLOUR_BLACK);

            //draw cross
            SSD1351_draw_line(47,2,47,92,COLOUR_WHITE);
            SSD1351_draw_line(48,2,48,92,COLOUR_WHITE);
            SSD1351_draw_line(2,47,92,47,COLOUR_WHITE);
            SSD1351_draw_line(2,48,92,48,COLOUR_WHITE);

            //draw grid
            SSD1351_draw_rect(48-griddata.deg15r,48-griddata.deg15r,griddata.deg15r*2,griddata.deg15r*2,COLOUR_RED); //15 deg
            SSD1351_draw_rect(48-griddata.deg30r,48-griddata.deg30r,griddata.deg30r*2,griddata.deg30r*2,COLOUR_BLUE);//30 deg
            SSD1351_draw_rect(48-griddata.deg45r,48-griddata.deg45r,griddata.deg45r*2,griddata.deg45r*2,COLOUR_GREEN);//45 deg
            SSD1351_draw_rect(48-griddata.deg60r,48-griddata.deg60r,griddata.deg60r*2,griddata.deg60r*2,COLOUR_YELLOW);//60 deg
            SSD1351_draw_rect(48-griddata.deg90r,48-griddata.deg90r,griddata.deg90r*2,griddata.deg90r*2,COLOUR_PURPLE); //90 deg

            //get new pixel data
            state= osMessageQueueGet(coodataHandle, &coo, 0U, osWaitForever);
            if(osOK != state ){
                printf("\tgetting-coo: %i\r\n", state);
            }

            //draw bubble corresponding to pitch/roll
            SSD1351_draw_filled_circle(coo.x,coo.y,2,COLOUR_AQUA);
            SSD1351_update();
        }
    }
  /* USER CODE END startspitask */
}

/* USER CODE BEGIN Header_starti2ctask */
/**
 * @brief gets raw accelorometer and gyroscope data from 6DOF-IC via I2C,
 *        converts and sends these to fusiontask
 * @param argument: calibration values from ICM42688_calibrate();
 * @retval None
 */
/* USER CODE END Header_starti2ctask */
void starti2ctask(void *argument)
{
  /* USER CODE BEGIN starti2ctask */
    DATASET data;
    REALACCGYR output;
    CALDATA* ptr = argument;
    CALDATA cali;
    cali.accx = ptr->accx;
    cali.accy = ptr->accy;
    cali.accz = ptr->accz;
    cali.gyrox = ptr->gyrox;
    cali.gyroy = ptr->gyroy;
    osStatus_t state;
    //osThreadState_t threadstate;
    /* Infinite loop */
    for(;;)
    {
        //reads all sensors and converts values to 2s-complement
        ICM42688_read_all_sensors(&data.raw, &data.conv);
        //subtract calibration values (not used for z-axis, since reference value must not be 0 (earth's gravity))
        output.accx = (float)data.conv.accx/16384 - cali.accx;
        output.accy = (float)data.conv.accy/16384 - cali.accy;
        output.accz = (float)data.conv.accz/16384;
        output.gyrx = ((float)data.conv.gyrox/16.4 - cali.gyrox)*0.0174532925;
        output.gyry = ((float)data.conv.gyroy/16.4 - cali.gyroy)*0.0174532925;

        //send data to fusiontask and notify for availability
        osMessageQueuePut(gyraccdataHandle, &output, 0U, 0);
        state= osSemaphoreRelease(rawdataavailableHandle);
        if(osOK != state ){
            printf("\tputting, rawdataavailstate:%i\r\n", state);
        }
        osDelay(10);
    }
  /* USER CODE END starti2ctask */
}

/* USER CODE BEGIN Header_startfusiontask */
/**
 * @brief implements sensor fusion of accel- and gyro via complementary filter with data from i2ctask,
 *        sends fused-data to converttopixeltask
 * @param argument: Not used
 * @retval None
 */
/* USER CODE END Header_startfusiontask */
void startfusiontask(void *argument)
{
  /* USER CODE BEGIN startfusiontask */

    osStatus_t state, state2;
    CALCDATA calc;
    calc.angles.roll  = 0;
    calc.angles.pitch = 0;
    calc.pitch_err = 0;
    calc.pitch_err_old = 0;
    calc.roll_err = 0;
    calc.roll_err_old = 0;
    FILTERPARAM* ptr = argument;
    FILTERPARAM filt;
    filt.alpha = ptr->alpha;
    filt.ki = ptr->ki;
    filt.kp = ptr->kp;
#if DEBUG
    osStatus_t state3;
    int8_t i = 0;
#endif
    osSemaphoreRelease(fuseddataavailableHandle);

    /* Infinite loop */
    for(;;)
    {
        //notification from i2ctask, if raw sensor-data is available
        if(osSemaphoreAcquire(rawdataavailableHandle, osWaitForever) == osOK){
            state= osMessageQueueGet(gyraccdataHandle, &calc.input, 0U, 10);
            if(osOK == state ){
                //calculate angle from linear acceleration
                if(calc.input.accz>0.0){
                    //for device upwards
                    calc.t_roll  = atan2f(calc.input.accy, calc.input.accz);
                    //calc.t_roll   = atan2f(calc.input.accy, sqrtf(powf(calc.input.accy,2)+powf(calc.input.accz,2)));
                    calc.t_pitch = atan2f(calc.input.accx, calc.input.accz);
                    //calc.t_pitch  = atan2f(calc.input.accx, sqrtf(powf(calc.input.accx,2)+powf(calc.input.accz,2)));
                }else
                {
                    //device downwards
                    calc.t_roll  = atan2f(calc.input.accy, -calc.input.accz);
                    calc.t_pitch = atan2f(calc.input.accx, -calc.input.accz);
                }

                //get error between last fused-angles and - via linear accel. calculated - angles
                calc.roll_err  = calc.t_roll  - calc.angles.roll;
                calc.pitch_err = calc.t_pitch - calc.angles.pitch;

                //integrate from last fused angle over error-compensated
                //(via PI controller on error between fused-angles and angles from linear accel.) angular accel (from gyro)
                calc.g_roll  = (calc.input.gyrx - (calc.roll_err_old  + (filt.ki*0.01 + filt.kp) * calc.roll_err ) ) * 0.01 + calc.angles.roll;
                calc.g_pitch = (calc.input.gyry - (calc.pitch_err_old + (filt.ki*0.01 + filt.kp) * calc.pitch_err) ) * 0.01 + calc.angles.pitch;

                //complementary filter, fuses angles from linear and angular acceleration with weight
                calc.angles.roll  = calc.g_roll  * filt.alpha + calc.t_roll  * (1-filt.alpha);
                calc.angles.pitch = calc.g_pitch * filt.alpha + calc.t_pitch * (1-filt.alpha);

                //save old error between last fused-angles and - via linear accel. calculated - angles
                calc.roll_err_old  = calc.roll_err;
                calc.pitch_err_old = calc.pitch_err;

                //printf("groll, gpitch, ang_rol, ang_pit %f %f %f %f \r\n",calc.g_roll, calc.g_pitch, calc.angles.roll, calc.angles.pitch);
                //printf("x y z gyrx gyry: %f %f %f %f %f\r\n", calc.input.accx, calc.input.accy, calc.input.accz, calc.input.gyrx, calc.input.gyry);

                //check, if last fused data was taken from queue from converttopixeltask
                if(osSemaphoreAcquire(fuseddataavailableHandle,0)== osOK){
                    state2 = osMessageQueuePut(fuseddataHandle, &calc.angles, 0U, 0);
                    if(osOK != state2 ){
                        printf("angles put state:%i\r\n", state2);
                    }
#if DEBUG
                    //if(i==25){
					if(i==50){
						state3 = osMessageQueuePut(calcdatatomonitorHandle, &calc, 0U, 0);

						if(state3 != osOK){
							printf("debug calc putting: %i\r\n", state3);
						}
						if(osSemaphoreAcquire(monitorcalcavailableHandle,0)!=osOK){printf("monitorsem not ok\r\n");}
						i=0;
					}else{

						i++;
					}
#endif
                }
            }else{
                printf("\tgetting, gyrdatstate: %i\r\n", state);
            }
        }
    }
  /* USER CODE END startfusiontask */
}

/* USER CODE BEGIN Header_startconverttopixeltask */
/**
 * @brief maps angle in radiant (from fusiontask) to pixel-coordinates with selected scaling,
 *        sends coordinates in pixel to spitask
 * @param argument: function pointer to scaling function (linear or logarithmic)
 * @retval None
 */
/* USER CODE END Header_startconverttopixeltask */
void startconverttopixeltask(void *argument)
{
  /* USER CODE BEGIN startconverttopixeltask */
    osStatus_t state, state2;
    ANGLES angles;
    void (*scaleptr)(float, float, DELTA*);
    scaleptr = argument;
    COODELTA cd;
    cd.coo.x=0; cd.coo.y=0;
#if DEBUG
    osStatus_t state3;
#endif
    /* Infinite loop */
    for(;;)
    {
    	//get new fused-data from fusiontask
    	state= osMessageQueueGet(fuseddataHandle, &angles, 0U, osWaitForever);
    	if(osOK == state){
    		//call chosen scaling function (linear or logarithmic)
    		scaleptr(angles.pitch, angles.roll, &cd.delta);

    		//quadrant-specific calculation of pixel-coordinates
    		if(angles.roll < 0.0){
    			cd.coo.y = round(47.5 - cd.delta.y);
    			if(cd.coo.y < 1){cd.coo.y = 1;}
    			if(angles.pitch < 0.0){
    				cd.coo.x = round(47.5 - cd.delta.x);
    				if(cd.coo.x < 1){cd.coo.x = 1;}
    			}else
    			{
    				cd.coo.x = round(47.5 + cd.delta.x);
    				if(cd.coo.x > 95){cd.coo.x = 95;}
    			}

    		}else
    		{
    			cd.coo.y = round(47.5 + cd.delta.y);
    			if(cd.coo.y > 95){cd.coo.y = 95;}
    			if(angles.pitch < 0.0){
    				cd.coo.x = round(47.5 - cd.delta.x);
    				if(cd.coo.x < 1){cd.coo.x = 1;}
    			}else
    			{
    				cd.coo.x = round(47.5 + cd.delta.x);
    				if(cd.coo.x > 95){cd.coo.x = 95;}
    			}
    		}

    		//send pixel-coordinates to spitask
    		state2 = osMessageQueuePut(coodataHandle, &cd.coo, 0U, 0);
    		if(osOK == state2){
    			osSemaphoreRelease(cooavailableHandle);
    		}
#if DEBUG
    		if(osSemaphoreRelease(monitorcalcavailableHandle)==osOK){
    			state3 = osMessageQueuePut(pixeldatatomonitorHandle, &cd, 0U, 0);

    			if(state3 != osOK){
    				printf("debug pixel putting: %i\r\n", state3);
    			}
    		}
#endif
    		//notify fusiontask, that new fused data can be put into queue
    		osSemaphoreRelease(fuseddataavailableHandle);
    	}else
    	{
    		printf("angles, getting: %i\r\n", state);
    	}
    }
  /* USER CODE END startconverttopixeltask */
}

void HAL_TIM_PeriodElapsedCallback(TIM_HandleTypeDef *htim)
{
  if (htim->Instance == TIM6) {
    HAL_IncTick();
  }
}

void Error_Handler(void)
{
  /* USER CODE BEGIN Error_Handler_Debug */
    /* User can add his own implementation to report the HAL error return state */
    __disable_irq();
    printf("\rError in File: %s, Line: %d\n\r",__FILE__, __LINE__);
    while (1)
    {
    }
  /* USER CODE END Error_Handler_Debug */
}
